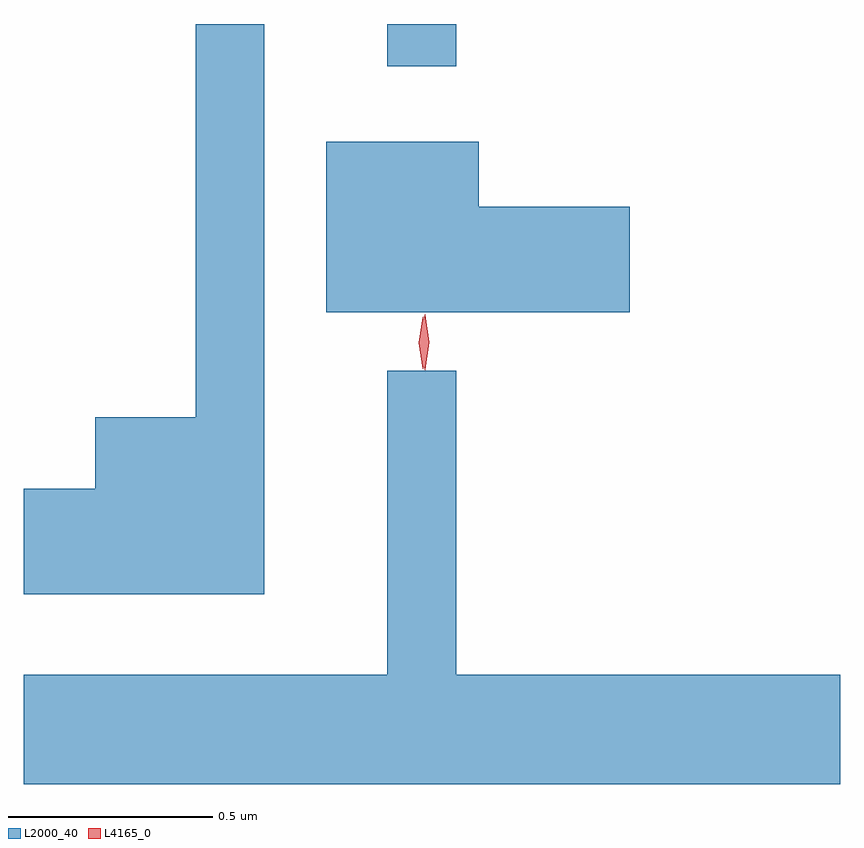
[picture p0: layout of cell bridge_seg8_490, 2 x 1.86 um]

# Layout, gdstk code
import gdstk
lib = gdstk.Library(unit=1e-6, precision=1e-09)
def R(c, l, rs):  # rectangles x0, y0, x1, y1
    for r in rs: c.add(gdstk.rectangle(r[:2], r[2:], *l))
def P(c, l, *ps):  # polygons
    for p in ps: c.add(gdstk.Polygon(p, *l))
L2000_40 = (2000, 40)
L4165_0 = (4165, 0)

bridge_seg8_490 = lib.new_cell('bridge_seg8_490')
R(bridge_seg8_490, L2000_40, [(433.201,1920.313,433.369,1920.417)])
P(bridge_seg8_490, L2000_40, [(432.899,1920.417),(432.731,1920.417),(432.731,1919.454),(432.486,1919.454),(432.486,1919.279),(432.31,1919.279),(432.31,1919.021),(432.899,1919.021)],
  [(433.794,1919.969),(433.424,1919.969),(433.424,1920.129),(433.051,1920.129),(433.051,1919.711),(433.794,1919.711)],
  [(434.31,1918.824),(433.369,1918.824),(433.369,1919.568),(433.201,1919.568),(433.201,1918.824),(432.31,1918.824),(432.31,1918.556),(434.31,1918.556)])
P(bridge_seg8_490, L4165_0, [(433.293,1919.569),(433.292,1919.57),(433.283,1919.638),(433.292,1919.705),(433.293,1919.706),(433.293,1919.705),(433.303,1919.638),(433.293,1919.57)],
  [(433.287,1919.573),(433.278,1919.636),(433.287,1919.699),(433.288,1919.7),(433.288,1919.699),(433.298,1919.636),(433.288,1919.573),(433.288,1919.573)])

lib.write_gds('bridge_seg8_490.gds')
